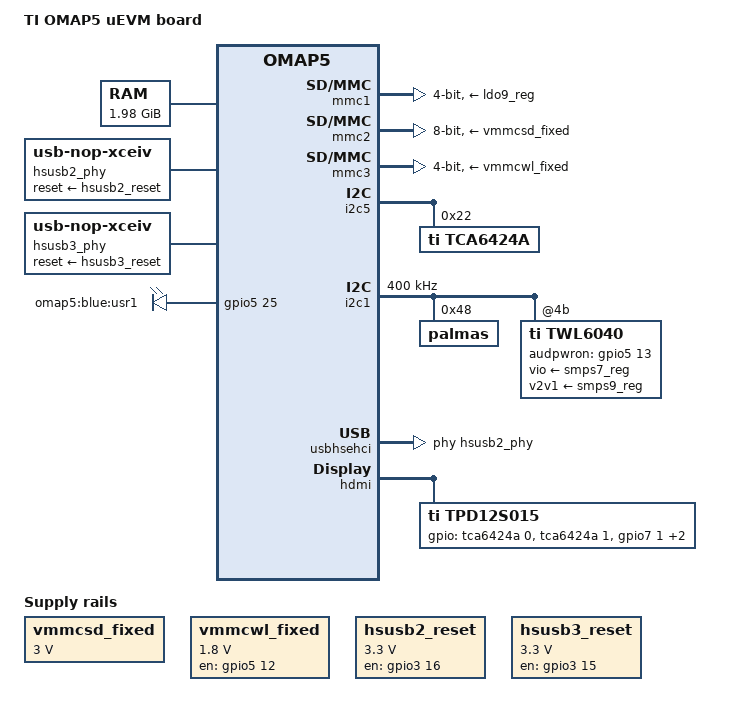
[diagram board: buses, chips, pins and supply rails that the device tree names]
/*
 * Copyright (C) 2012 Texas Instruments Incorporated - http://www.ti.com/
 *
 * This program is free software; you can redistribute it and/or modify
 * it under the terms of the GNU General Public License version 2 as
 * published by the Free Software Foundation.
 */
/dts-v1/;

/include/ "omap5.dtsi"
/include/ "samsung_k3pe0e000b.dtsi"

/ {
	model = "TI OMAP5 uEVM board";
	compatible = "ti,omap5-uevm", "ti,omap5";

	cpus {
		cpu@0 {
			cpu0-supply = <&smps123_reg>;
		};
	};

	memory {
		device_type = "memory";
		reg = <0x80000000 0x7F000000>; /* 2032 MB */
	};

	vmmcsd_fixed: fixedregulator-mmcsd {
		compatible = "regulator-fixed";
		regulator-name = "vmmcsd_fixed";
		regulator-min-microvolt = <3000000>;
		regulator-max-microvolt = <3000000>;
	};

	vmmcwl_fixed: fixedregulator-mmcwl {
		compatible = "regulator-fixed";
		regulator-name = "vmmcwl_fixed";
		regulator-min-microvolt = <1800000>;
		regulator-max-microvolt = <1800000>;
		gpio = <&gpio5 12 0>;	/* gpio5_140 */
		startup-delay-us = <70000>;
		enable-active-high;
	};

	/* HS USB Port 2 RESET */
	hsusb2_reset: hsusb2_reset_reg {
		compatible = "regulator-fixed";
		regulator-name = "hsusb2_reset";
		regulator-min-microvolt = <3300000>;
		regulator-max-microvolt = <3300000>;
		gpio = <&gpio3 16 0>;	/* gpio3_80 HUB_NRESET */
		startup-delay-us = <70000>;
		enable-active-high;
	};

	/* HS USB Host PHY on PORT 2 */
	hsusb2_phy: hsusb2_phy {
		compatible = "usb-nop-xceiv";
		reset-supply = <&hsusb2_reset>;
	};

	/* HS USB Port 3 RESET */
	hsusb3_reset: hsusb3_reset_reg {
		compatible = "regulator-fixed";
		regulator-name = "hsusb3_reset";
		regulator-min-microvolt = <3300000>;
		regulator-max-microvolt = <3300000>;
		gpio = <&gpio3 15 0>;	/* gpio3_79 ETH_NRESET */
		startup-delay-us = <70000>;
		enable-active-high;
	};

	/* HS USB Host PHY on PORT 3 */
	hsusb3_phy: hsusb3_phy {
		compatible = "usb-nop-xceiv";
		reset-supply = <&hsusb3_reset>;
	};

	/* hsusb2_phy is clocked by FREF_CLK1 i.e. auxclk1 */
	clock_alias {
		clock-name = "auxclk1_ck";
		clock-alias = "main_clk";
		device = <&hsusb2_phy>;
		clock-frequency = <19200000>; /* 19.2 MHz */
	};

	sound {
		compatible = "ti,abe-twl6040";
		ti,model = "PandaBoard5";

		ti,jack-detection = <1>;
		ti,mclk-freq = <19200000>;

		ti,mcpdm = <&mcpdm>;
		ti,mcbsp1 = <&mcbsp1>;
		ti,mcbsp2 = <&mcbsp2>;
		ti,aess = <&aess>;

		ti,twl6040 = <&twl6040>;

		/* Audio routing */
		ti,audio-routing =
			"Headset Stereophone", "HSOL",
			"Headset Stereophone", "HSOR",
			"Line Out", "AUXL",
			"Line Out", "AUXR",
			"HSMIC", "Headset Mic",
			"Headset Mic", "Headset Mic Bias",
			"AFML", "Line In",
			"AFMR", "Line In",
			"Headset Playback", "PDM_DL1",
			"PDM_UL1", "Capture",
			"40122000.mcbsp Playback", "BT_VX_DL",
			"BT_VX_UL", "40122000.mcbsp Capture",
			"40124000.mcbsp Playback", "MM_EXT_DL",
			"MM_EXT_UL", "40124000.mcbsp Capture";
	};

	sound_hdmi {
		compatible = "ti,omap-hdmi-tpd12s015-audio";
		ti,model = "OMAP5HDMI";

		ti,hdmi_audio = <&hdmi>;
		ti,level_shifter = <&tpd12s015>;
	};

	leds {
		compatible = "gpio-leds";
		led@1 {
			label = "omap5:blue:usr1";
			gpios = <&gpio5 25 0>;	/* gpio5_153 D1 LED */
			linux,default-trigger = "heartbeat";
			default-state = "off";
		};
	};

	ocp {
		gpu: gpu@0x56000000 {
			gpu-supply = <&smps45_reg>;
		};
	};

	kim {
		compatible = "kim";
		nshutdown_gpio = <142>;
		dev_name = "/dev/ttyO4";
		flow_cntrl = <1>;
		baud_rate = <3686400>;
	};

	btwilink {
		compatible = "btwilink";
	};

	wlcore {
		compatible = "wlcore";
		gpio = <14>;
	};
};

&omap5_pmx_core {
	pinctrl-names = "default";
	pinctrl-0 = <
			&twl6040_pins
			&mcpdm_pins
			&dmic_pins
			&mcbsp1_pins
			&mcbsp2_pins
			&usbhost_pins
			&dss_hdmi_pins
			&tpd12s015_pins
			&tca6424a_pins
			&palmas_pins
			&led_gpio_pins
			&wl_pins
	>;

	twl6040_pins: pinmux_twl6040_pins {
		pinctrl-single,pins = <
			0x17e 0x6	/* mcspi1_somi.gpio5_141 OUTPUT | MODE6 */
			0x18a 0x6	/* perslimbus2_clock.gpio5_145 OUTPUT | MODE6 */
		>;
	};

	mcpdm_pins: pinmux_mcpdm_pins {
		pinctrl-single,pins = <
			0x142 0x108	/* abe_clks.abe_clks INPUT PULLDOWN | MODE0 */
			0x15c 0x108	/* abemcpdm_ul_data.abemcpdm_ul_data INPUT PULLDOWN | MODE0 */
			0x15e 0x108	/* abemcpdm_dl_data.abemcpdm_dl_data INPUT PULLDOWN | MODE0 */
			0x160 0x118	/* abemcpdm_frame.abemcpdm_frame INPUT PULLUP | MODE0 */
			0x162 0x108	/* abemcpdm_lb_clk.abemcpdm_lb_clk INPUT PULLDOWN | MODE0 */
		>;
	};

	dmic_pins: pinmux_dmic_pins {
		pinctrl-single,pins = <
			0x144 0x100	/* abedmic_din1.abedmic_din1 INPUT | MODE0 */
			0x146 0x100	/* abedmic_din2.abedmic_din2 INPUT | MODE0 */
			0x148 0x100	/* abedmic_din3.abedmic_din3 INPUT | MODE0 */
			0x14a 0		/* abedmic_clk1.abedmic_clk1 OUTPUT | MODE0 */
		>;
	};

	mcbsp1_pins: pinmux_mcbsp1_pins {
		pinctrl-single,pins = <
			0x14c 0x101	/* abedmic_clk2.abemcbsp1_fsx INPUT | MODE1 */
			0x14e 0x9	/* abedmic_clk3.abemcbsp1_dx OUTPUT PULLDOWN | MODE1 */
			0x150 0x101	/* abeslimbus1_clock.abemcbsp1_clkx INPUT | MODE0 */
			0x152 0x109	/* abeslimbus1_data.abemcbsp1_dr INPUT PULLDOWN | MODE1 */
		>;
	};

	mcbsp2_pins: pinmux_mcbsp2_pins {
		pinctrl-single,pins = <
			0x154 0x108	/* abemcbsp2_dr.abemcbsp2_dr INPUT PULLDOWN | MODE0 */
			0x156 0x8	/* abemcbsp2_dx.abemcbsp2_dx OUTPUT PULLDOWN | MODE0 */
			0x158 0x100	/* abemcbsp2_fsx.abemcbsp2_fsx INPUT | MODE0 */
			0x15a 0x100	/* abemcbsp2_clkx.abemcbsp2_clkx INPUT | MODE0 */
		>;
	};

	usbhost_pins: pinmux_usbhost_pins {
		pinctrl-single,pins = <
			0x84 0x100	/* usbb2_hsic_strobe INPUT | MODE 0 */
			0x86 0x100	/* usbb2_hsic_data INPUT | MODE 0 */

			0x19e 0x100	/* usbb3_hsic_strobe INPUT | MODE 0 */
			0x1a0 0x100	/* usbb3_hsic_data INPUT | MODE 0 */

			0x70 0x6	/* gpio3_80 OUTPUT | MODE 6 HUB_NRESET */
			0x6e 0x6	/* gpio3_79 OUTPUT | MODE 6 ETH_NRESET */
		>;
	};

	dss_hdmi_pins: pinmux_dss_hdmi_pins {
		pinctrl-single,pins = <
			0x0fc 0x118	/* hdmi_cec.hdmi_cec INPUT PULLUP | MODE 0 */
			0x100 0x100	/* hdmi_ddc_scl, DDC-SCL, INPUT ENABLE | MODE 0 */
			0x102 0x100	/* hdmi_ddc_sda, DDC-SDA, INPUT ENABLE | MODE 0 */
		>;
	};

	tpd12s015_pins: pinmux_tpd12s015_pins {
		pinctrl-single,pins = <
			0x0fe 0x116	/* hdmi_hpd.gpio7_193 INPUT PULLDOWN | MODE6 */
		>;
	};

	tca6424a_pins: pinmux_tca6424a_pins {
		pinctrl-single,pins = <
			0x186 0x100	/* i2c5_scl.i2c5_scl INPUT | MODE0 */
			0x188 0x100	/* i2c5_sda.i2c5_sda INPUT | MODE0 */
		>;
	};

	uart1_pins: pinmux_uart1_pins {
		pinctrl-single,pins = <
			0x60 0x0	/* uart1_tx.uart1_cts MODE0 */
			0x62 0x118	/* uart1_tx.uart1_cts INPUT | PULLUP | MODE0 */
			0x64 0x118	/* uart1_rx.uart1_rts INPUT | PULLUP | MODE0 */
			0x66 0		/* uart1_rx.uart1_rts MODE0 */
		>;
	};

	uart3_pins: pinmux_uart3_pins {
		pinctrl-single,pins = <
			0x19a 0x0	/* uart3_rts_irsd.uart3_tx_irtx MODE0 */
			0x19c 0x118	/* uart3_rx_irrx.uart3_usbb3_hsic INPUT | PULLUP | MODE0 */
		>;
	};

	uart5_pins: pinmux_uart5_pins {
		pinctrl-single,pins = <
			0x170 0x118	/* uart5_rx.uart5_rx INPUT | PULLUP | MODE0 */
			0x172 0x0	/* uart5_tx.uart5_tx MODE0 */
			0x174 0x118	/* uart5_cts.uart5_rts INPUT | PULLUP | MODE0 */
			0x176 0x0	/* uart5_cts.uart5_rts MODE0 */
			0x180 0x6       /* GPIO5_142 - BT_EN: OUTPUT | MODE6 */
		>;
	};

	mcspi2_pins: pinmux_mcspi2_pins {
		pinctrl-single,pins = <
			0xbc 0x100      /*  MCSPI2_CLK INPUTENABLE | MODE0 */
			0xbe 0x100      /*  MCSPI2_SIMO INPUTENABLE | MODE0 */
			0xc0 0x118      /*  MCSPI2_SOMI PULLUP | INPUTENABLE | MODE0*/
			0xc2 0x0        /*  MCSPI2_CS MODE0*/
		>;
	};

	mcspi3_pins: pinmux_mcspi3_pins {
		pinctrl-single,pins = <
			0x78 0x101      /*  MCSPI2_SOMI INPUTENABLE | MODE1 */
			0x7a 0x101      /*  MCSPI2_CS INPUTENABLE | MODE1 */
			0x7c 0x101      /*  MCSPI2_SIMO INPUTENABLE | MODE1 */
			0x7e 0x101      /*  MCSPI2_CLK INPUTENABLE | MODE1 */
		>;
	};

	mcspi4_pins: pinmux_mcspi4_pins {
		pinctrl-single,pins = <
			0x164 0x101     /*  MCSPI2_CLK INPUTENABLE | MODE1 */
			0x168 0x101     /*  MCSPI2_SIMO INPUTENABLE | MODE1 */
			0x16a 0x101     /*  MCSPI2_SOMI INPUTENABLE | MODE1 */
			0x16c 0x101     /*  MCSPI2_CS INPUTENABLE | MODE1 */
                >;
	};

	palmas_pins: pinmux_palmas_pins {
		pinctrl-single,pins = <
			0x140 0x11f	/* MSLEEP INPUT | PULLUP | MODE7 */
		>;
	};

	led_gpio_pins: pinmux_led_gpio_pins {
		pinctrl-single,pins = <
			0x196 0x6	/* uart3_cts_rctx.gpio5_153 OUTPUT | MODE6 */
		>;
	};

	wl_pins: pinmux_wl_pins {
		pinctrl-single,pins = <
			0x164 0x118	/* WLSDIO_CLK: INPUTENABLE | PULLUP | MODE0 */
			0x166 0x118	/* WLSDIO_CMD: INPUTENABLE | PULLUP | MODE0 */
			0x168 0x118	/* WLSDIO_DAT0: INPUTENABLE | PULLUP | MODE0 */
			0x16a 0x118	/* WLSDIO_DAT1: INPUTENABLE | PULLUP | MODE0 */
			0x16c 0x118	/* WLSDIO_DAT2: INPUTENABLE | PULLUP | MODE0 */
			0x16e 0x118	/* WLSDIO_DAT3: INPUTENABLE | PULLUP | MODE0 */
			0x17c 0x6	/* WLAN_EN: OUTPUT | MODE6 */
		>;
	};
};

&omap5_pmx_wkup {
	pinctrl-names = "default";
	pinctrl-0 = <
			&usbhost_wkup_pins
			&wlirq_pins
	>;

	usbhost_wkup_pins: pinmux_usbhost_wkup_pins {
		pinctrl-single,pins = <
			0x1A 0x0	/* fref_clk1_out OUTPUT | MODE 7 for USB hub clk */
		>;
	};

	wlirq_pins: pinmux_wlirq_pins {
		pinctrl-single,pins = <
			0x0 0x4106      /* WLAN_IRQ: INPUT | WAKEUP_ENABLE | MODE 6 */
		>;
	};
};

&mmc1 {
	vmmc-supply = <&ldo9_reg>;
	bus-width = <4>;
};

&mmc2 {
	vmmc-supply = <&vmmcsd_fixed>;
	bus-width = <8>;
	ti,non-removable;
};

&mmc3 {
	vmmc-supply = <&vmmcwl_fixed>;
	bus-width = <4>;
	cap-power-off-card;
	keep-power-in-suspend;
	ti,non-removable;
};

&mmc4 {
	status = "disabled";
};

&mmc5 {
	status = "disabled";
};

&i2c5 {
	tca6424a: tca6424a@22 {
		compatible = "ti,tca6424a";
		reg = <0x22>;
		gpio-controller;
		#gpio-cells = <2>;
	};
};

&mcbsp3 {
	status = "disabled";
};

&emif1 {
	cs1-used;
	device-handle = <&samsung_K3PE0E000B>;
};

&emif2 {
	cs1-used;
	device-handle = <&samsung_K3PE0E000B>;
};

&i2c1 {
	clock-frequency = <400000>;

	palmas: palmas@48 {
		reg = <0x48>;
		/* SPI = 0, IRQ# = 7, 4 = active high level-sensitive */
		interrupts = <0 7 4>; /* IRQ_SYS_1N cascaded to gic */
		interrupt-parent = <&gic>;
	};

	twl6040: twl@4b {
		compatible = "ti,twl6040";

		interrupts = <0 119 4>; /* IRQ_SYS_2N cascaded to gic */
		interrupt-parent = <&gic>;
		ti,audpwron-gpio = <&gpio5 13 0>;  /* gpio line 141 */

		vio-supply = <&smps7_reg>;
		v2v1-supply = <&smps9_reg>;
		enable-active-high;
	};
};

&usbhshost {
	port2-mode = "ehci-hsic";
	port3-mode = "ehci-hsic";
};

&usbhsehci {
	phys = <0 &hsusb2_phy &hsusb3_phy>;
};

/include/ "palmas.dtsi"
/include/ "twl6040.dtsi"

&hdmi {
	vdda_hdmi_dac-supply = <&ldo4_reg>;

	tpd12s015: tpd12s015 {
		compatible = "ti,tpd12s015";

		gpios = <&tca6424a 0 0>,	/* TCA6424A P01, CT_CP_HDP */
			<&tca6424a 1 0>,	/* TCA6424A P00, LS_OE*/
			<&gpio7 1 0>,		/* 193, HPD */
			<&gpio7 2 0>,		/* 194, SCL */
			<&gpio7 3 0>;		/* 195, SDA */


		hdmi-monitor {
			compatible = "ti,hdmi_panel";
		};

	};
};

&dsi1 {
	vdds_dsi-supply = <&ldo4_reg>;
};

&dsi2 {
	vdds_dsi-supply = <&ldo4_reg>;
};

&uart1 {
        pinctrl-names = "default";
        pinctrl-0 = <&uart1_pins>;
};

&uart3 {
        pinctrl-names = "default";
        pinctrl-0 = <&uart3_pins>;
};

&uart5 {
        pinctrl-names = "default";
        pinctrl-0 = <&uart5_pins>;
};

&mcspi2 {
        pinctrl-names = "default";
        pinctrl-0 = <&mcspi2_pins>;
};

&mcspi3 {
        pinctrl-names = "default";
        pinctrl-0 = <&mcspi3_pins>;
};

&mcspi4 {
        pinctrl-names = "default";
        pinctrl-0 = <&mcspi4_pins>;
};
